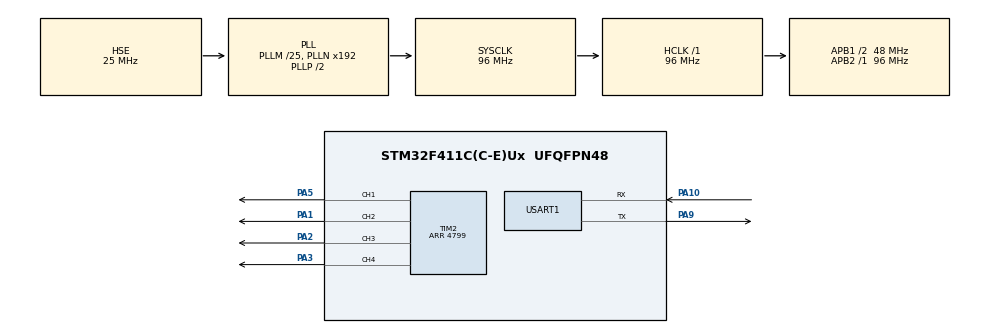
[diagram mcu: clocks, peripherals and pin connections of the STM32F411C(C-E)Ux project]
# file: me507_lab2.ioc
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Mcu.Family=STM32F4
Mcu.Name=STM32F411C(C-E)Ux
Mcu.Package=UFQFPN48
NVIC.PriorityGroup=NVIC_PRIORITYGROUP_4
NVIC.TIM2_IRQn=true\:0\:0\:false\:false\:true\:true\:true\:true
NVIC.USART1_IRQn=true\:0\:0\:false\:false\:true\:true\:true\:true
PA1.Signal=S_TIM2_CH2
PA10.Mode=Asynchronous
PA10.Signal=USART1_RX
PA13.Mode=Trace_Asynchronous_SW
PA13.Signal=SYS_JTMS-SWDIO
PA14.Mode=Trace_Asynchronous_SW
PA14.Signal=SYS_JTCK-SWCLK
PA2.Signal=S_TIM2_CH3
PA3.Signal=S_TIM2_CH4
PA5.Signal=S_TIM2_CH1_ETR
PA9.Mode=Asynchronous
PA9.Signal=USART1_TX
PB3.Mode=Trace_Asynchronous_SW
PB3.Signal=SYS_JTDO-SWO
PH0\ -\ OSC_IN.Mode=HSE-External-Oscillator
PH0\ -\ OSC_IN.Signal=RCC_OSC_IN
PH1\ -\ OSC_OUT.Mode=HSE-External-Oscillator
PH1\ -\ OSC_OUT.Signal=RCC_OSC_OUT
ProjectManager.HeapSize=0x200
ProjectManager.StackSize=0x400
ProjectManager.TargetToolchain=STM32CubeIDE
RCC.48MHZClocksFreq_Value=48000000
RCC.AHBFreq_Value=96000000
RCC.APB1CLKDivider=RCC_HCLK_DIV2
RCC.APB1Freq_Value=48000000
RCC.APB1TimFreq_Value=96000000
RCC.APB2Freq_Value=96000000
RCC.APB2TimFreq_Value=96000000
RCC.CortexFreq_Value=96000000
RCC.HCLKFreq_Value=96000000
RCC.HSE_VALUE=25000000
RCC.HSI_VALUE=16000000
RCC.LSE_VALUE=32768
RCC.PLLM=25
RCC.PLLSourceVirtual=RCC_PLLSOURCE_HSE
RCC.SYSCLKFreq_VALUE=96000000
RCC.SYSCLKSource=RCC_SYSCLKSOURCE_PLLCLK
RCC.VCOOutputFreq_Value=192000000
SH.S_TIM2_CH1_ETR.0=TIM2_CH1,PWM Generation1 CH1
SH.S_TIM2_CH2.0=TIM2_CH2,PWM Generation2 CH2
SH.S_TIM2_CH3.0=TIM2_CH3,PWM Generation3 CH3
SH.S_TIM2_CH4.0=TIM2_CH4,PWM Generation4 CH4
TIM2.AutoReloadPreload=TIM_AUTORELOAD_PRELOAD_ENABLE
TIM2.Channel-PWM\ Generation1\ CH1=TIM_CHANNEL_1
TIM2.Channel-PWM\ Generation2\ CH2=TIM_CHANNEL_2
TIM2.Channel-PWM\ Generation3\ CH3=TIM_CHANNEL_3
TIM2.Channel-PWM\ Generation4\ CH4=TIM_CHANNEL_4
TIM2.Period=4799
TIM2.Pulse-PWM\ Generation1\ CH1=4800 
TIM2.Pulse-PWM\ Generation2\ CH2=4800 
TIM2.Pulse-PWM\ Generation3\ CH3=4800 
TIM2.Pulse-PWM\ Generation4\ CH4=4800 
TIM2.TIM_MasterOutputTrigger=TIM_TRGO_OC1
USART1.VirtualMode=VM_ASYNC
VP_TIM2_VS_ClockSourceINT.Mode=Internal
board=custom

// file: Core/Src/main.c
/* USER CODE BEGIN Header */
/**
  ******************************************************************************
  * @file           : main.c
  * @brief          : Main program body
  ******************************************************************************
  * @attention
  *
  * Copyright (c) 2025 STMicroelectronics.
  * All rights reserved.
  *
  * This software is licensed under terms that can be found in the LICENSE file
  * in the root directory of this software component.
  * If no LICENSE file comes with this software, it is provided AS-IS.
  *
  ******************************************************************************
  */
/* USER CODE END Header */
#include "main.h"

/* USER CODE BEGIN Includes */
#include "motor_driver.h"
#include <stdio.h>
#include <string.h>
#include <stdlib.h>
#include <stdbool.h>
/* USER CODE END Includes */

TIM_HandleTypeDef htim2;

UART_HandleTypeDef huart1;

/* USER CODE BEGIN PV */
#define RX_BUFFER_SIZE 64
uint32_t PWM_duty_cycle = 4800;
uint32_t counterValue = 0;
uint8_t uart_rx_data;
HAL_StatusTypeDef uart_status;
uint8_t uart_rx_buffer[RX_BUFFER_SIZE];
uint8_t uart_rx_index = 0;
bool new_data = false;

/* USER CODE END PV */

void SystemClock_Config(void);
static void MX_GPIO_Init(void);
static void MX_TIM2_Init(void);
static void MX_USART1_UART_Init(void);

/* USER CODE BEGIN 0 */
char tx_buff[64];
/* USER CODE END 0 */

int main(void)
{

  /* MCU Configuration--------------------------------------------------------*/

  /* Reset of all peripherals, Initializes the Flash interface and the Systick. */
  HAL_Init();

  /* Configure the system clock */
  SystemClock_Config();

  /* Initialize all configured peripherals */
  MX_GPIO_Init();
  MX_TIM2_Init();
  MX_USART1_UART_Init();
  /* USER CODE BEGIN 2 */
  HAL_TIM_PWM_Start_IT(&htim2, TIM_CHANNEL_1);
  HAL_TIM_PWM_Start_IT(&htim2, TIM_CHANNEL_2);
  HAL_TIM_PWM_Start_IT(&htim2, TIM_CHANNEL_3);
  HAL_TIM_PWM_Start_IT(&htim2, TIM_CHANNEL_4);

  motor motor_1 = {
		  .duty_cycle = 0,
		  .direction = 1,

		  .htim = &htim2,
		  .pwm_channel1 = TIM_CHANNEL_1,
		  .pwm_channel2 = TIM_CHANNEL_2,
  };

  motor motor_2 = {
		  .duty_cycle = 0,
		  .direction = 1,

		  .htim = &htim2,
		  .pwm_channel1 = TIM_CHANNEL_3,
		  .pwm_channel2 = TIM_CHANNEL_4,
  };

  struct motor motors[2];
  motors[0] = motor_1;
  motors[1] = motor_2;

  HAL_UART_Receive_IT(&huart1, &uart_rx_data, 1);
  /* USER CODE END 2 */

  /* Infinite loop */
  /* USER CODE BEGIN WHILE */
  while (1)
  {
//	  motor_set(&motor_1, 75, 1);
//	  motor_set(&motor_2, 50, -1);
//	  HAL_Delay(500);
//	  motor_set(&motor_1, 75, 1);
//	  motor_set(&motor_2, 50, 1);
//	  HAL_Delay(500);
//	  motor_disable(&motor_1);
//	  HAL_Delay(500);
//	  motor_disable(&motor_2);
//	  HAL_Delay(500);

//		HAL_StatusTypeDef uart_status;

//		uart_status = HAL_UART_Receive(&huart1, &uart_rx_data, 1, 0);

//		if (uart_status == HAL_OK) {
		if (new_data == true) {
			new_data = false;
			if (uart_rx_data == '\r' || uart_rx_data == '\n') {
				uart_rx_buffer[uart_rx_index] = '\0';

				char reply[32];
				int len = 0;
				if (uart_rx_buffer[0] == 'M' && uart_rx_index >= 3) {
					uint8_t motor = uart_rx_buffer[1];
					if (motor >= 97)
						motor = motor - 32;
					int first = motor / 16 - 3;
					int second = motor % 16;
					int motornum = first * 10 + second;
					if (motornum > 9) motornum--;

					char hex_str[3] = {
						uart_rx_buffer[2],
						uart_rx_buffer[3],
						'\0'
					};1213
					int8_t value = (int8_t)strtoul(hex_str, NULL, 16);

					if (motornum != 1 && motornum != 2) {
						len = snprintf(reply, sizeof(reply), "Use valid motor num (1,2)\r\n");
					} else if (value > 100) {
						len = snprintf(reply, sizeof(reply), "Too large duty cycle\r\n");
					} else if (value < -100) {
						len = snprintf(reply, sizeof(reply), "Duty cycle less than -100\r\n");
					} else {
						len = snprintf(reply, sizeof(reply), "Got M cmd: motor=%u  val=%d\r\n", motornum, value);
						int8_t duty_cycle = abs(value);
						int8_t dir = 1;
						if (value != 0) {
							dir = duty_cycle / value;
						}
						motor_set(&motors[motornum-1], duty_cycle, dir);
					}
				} else {
					len = snprintf(reply, sizeof(reply), "Begin commands with 'M'\r\n");

				}

				HAL_UART_Transmit(&huart1, (uint8_t*)reply, len, 1000);

				// Spit out what I put in, then add a new line
				for (uint16_t i = 0; i < uart_rx_index; ++i) {
					HAL_UART_Transmit(&huart1,
									  (uint8_t*)&uart_rx_buffer[i],
									  1,
									  1000);
				}
				const char *nl = "\r\n";
				HAL_UART_Transmit(&huart1,
								  (uint8_t*)nl,
								  2,
								  100);

				uart_rx_index = 0;
			}
			else {
				if (uart_rx_index < RX_BUFFER_SIZE - 1) {
					uart_rx_buffer[uart_rx_index++] = uart_rx_data;
				}
			}
		}

    /* USER CODE END WHILE */

  }
}

void SystemClock_Config(void)
{
  RCC_OscInitTypeDef RCC_OscInitStruct = {0};
  RCC_ClkInitTypeDef RCC_ClkInitStruct = {0};

  /** Configure the main internal regulator output voltage
  */
  __HAL_RCC_PWR_CLK_ENABLE();
  __HAL_PWR_VOLTAGESCALING_CONFIG(PWR_REGULATOR_VOLTAGE_SCALE1);

  /** Initializes the RCC Oscillators according to the specified parameters
  * in the RCC_OscInitTypeDef structure.
  */
  RCC_OscInitStruct.OscillatorType = RCC_OSCILLATORTYPE_HSE;
  RCC_OscInitStruct.HSEState = RCC_HSE_ON;
  RCC_OscInitStruct.PLL.PLLState = RCC_PLL_ON;
  RCC_OscInitStruct.PLL.PLLSource = RCC_PLLSOURCE_HSE;
  RCC_OscInitStruct.PLL.PLLM = 25;
  RCC_OscInitStruct.PLL.PLLN = 192;
  RCC_OscInitStruct.PLL.PLLP = RCC_PLLP_DIV2;
  RCC_OscInitStruct.PLL.PLLQ = 4;
  if (HAL_RCC_OscConfig(&RCC_OscInitStruct) != HAL_OK)
  {
    Error_Handler();
  }

  /** Initializes the CPU, AHB and APB buses clocks
  */
  RCC_ClkInitStruct.ClockType = RCC_CLOCKTYPE_HCLK|RCC_CLOCKTYPE_SYSCLK
                              |RCC_CLOCKTYPE_PCLK1|RCC_CLOCKTYPE_PCLK2;
  RCC_ClkInitStruct.SYSCLKSource = RCC_SYSCLKSOURCE_PLLCLK;
  RCC_ClkInitStruct.AHBCLKDivider = RCC_SYSCLK_DIV1;
  RCC_ClkInitStruct.APB1CLKDivider = RCC_HCLK_DIV2;
  RCC_ClkInitStruct.APB2CLKDivider = RCC_HCLK_DIV1;

  if (HAL_RCC_ClockConfig(&RCC_ClkInitStruct, FLASH_LATENCY_3) != HAL_OK)
  {
    Error_Handler();
  }
}

static void MX_TIM2_Init(void)
{

  TIM_ClockConfigTypeDef sClockSourceConfig = {0};
  TIM_MasterConfigTypeDef sMasterConfig = {0};
  TIM_OC_InitTypeDef sConfigOC = {0};

  htim2.Instance = TIM2;
  htim2.Init.Prescaler = 0;
  htim2.Init.CounterMode = TIM_COUNTERMODE_UP;
  htim2.Init.Period = 4799;
  htim2.Init.ClockDivision = TIM_CLOCKDIVISION_DIV1;
  htim2.Init.AutoReloadPreload = TIM_AUTORELOAD_PRELOAD_ENABLE;
  if (HAL_TIM_Base_Init(&htim2) != HAL_OK)
  {
    Error_Handler();
  }
  sClockSourceConfig.ClockSource = TIM_CLOCKSOURCE_INTERNAL;
  if (HAL_TIM_ConfigClockSource(&htim2, &sClockSourceConfig) != HAL_OK)
  {
    Error_Handler();
  }
  if (HAL_TIM_PWM_Init(&htim2) != HAL_OK)
  {
    Error_Handler();
  }
  sMasterConfig.MasterOutputTrigger = TIM_TRGO_OC1;
  sMasterConfig.MasterSlaveMode = TIM_MASTERSLAVEMODE_DISABLE;
  if (HAL_TIMEx_MasterConfigSynchronization(&htim2, &sMasterConfig) != HAL_OK)
  {
    Error_Handler();
  }
  sConfigOC.OCMode = TIM_OCMODE_PWM1;
  sConfigOC.Pulse = 4800 ;
  sConfigOC.OCPolarity = TIM_OCPOLARITY_HIGH;
  sConfigOC.OCFastMode = TIM_OCFAST_DISABLE;
  if (HAL_TIM_PWM_ConfigChannel(&htim2, &sConfigOC, TIM_CHANNEL_1) != HAL_OK)
  {
    Error_Handler();
  }
  if (HAL_TIM_PWM_ConfigChannel(&htim2, &sConfigOC, TIM_CHANNEL_2) != HAL_OK)
  {
    Error_Handler();
  }
  if (HAL_TIM_PWM_ConfigChannel(&htim2, &sConfigOC, TIM_CHANNEL_3) != HAL_OK)
  {
    Error_Handler();
  }
  if (HAL_TIM_PWM_ConfigChannel(&htim2, &sConfigOC, TIM_CHANNEL_4) != HAL_OK)
  {
    Error_Handler();
  }
  HAL_TIM_MspPostInit(&htim2);

}

static void MX_USART1_UART_Init(void)
{

  huart1.Instance = USART1;
  huart1.Init.BaudRate = 115200;
  huart1.Init.WordLength = UART_WORDLENGTH_8B;
  huart1.Init.StopBits = UART_STOPBITS_1;
  huart1.Init.Parity = UART_PARITY_NONE;
  huart1.Init.Mode = UART_MODE_TX_RX;
  huart1.Init.HwFlowCtl = UART_HWCONTROL_NONE;
  huart1.Init.OverSampling = UART_OVERSAMPLING_16;
  if (HAL_UART_Init(&huart1) != HAL_OK)
  {
    Error_Handler();
  }

}

static void MX_GPIO_Init(void)
{

  /* GPIO Ports Clock Enable */
  __HAL_RCC_GPIOH_CLK_ENABLE();
  __HAL_RCC_GPIOA_CLK_ENABLE();
  __HAL_RCC_GPIOB_CLK_ENABLE();

}

/* USER CODE BEGIN 4 */
//void HAL_TIM_PWM_PulseFinishedCallback(TIM_HandleTypeDef *htim)
//{
//	counterValue = __HAL_TIM_GET_COUNTER(&htim9);
//	sprintf(tx_buff, "LED HAS BLINKED %lu TIMES\r\n", counterValue);  // Format string with variable
//	HAL_UART_Transmit(&huart1, (uint8_t*)tx_buff, strlen(tx_buff), 1000);
//

void HAL_UART_RxCpltCallback(UART_HandleTypeDef *huart)
{
	new_data = true;
	HAL_UART_Transmit(&huart1, (uint8_t*)&uart_rx_data, 1, 1000);
	HAL_UART_Receive_IT(&huart1, &uart_rx_data, 1);
}

//}
int hex_to_int(char c) {
	int first = c / 16 - 3;
	int second = c % 16;
	int result = first*10 + second;
	if (result > 9) result--;
	return result;
}
/* USER CODE END 4 */

void Error_Handler(void)
{
  __disable_irq();
  while (1)
  {
  }
}
